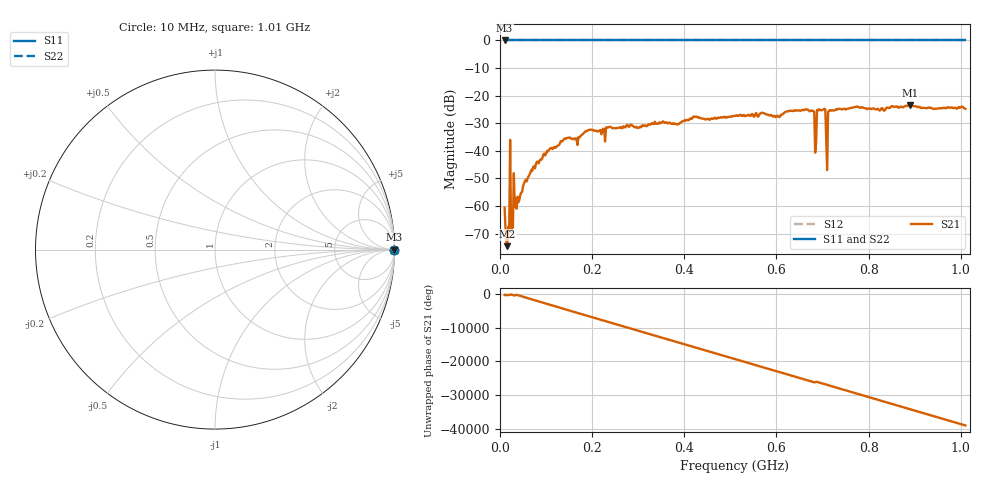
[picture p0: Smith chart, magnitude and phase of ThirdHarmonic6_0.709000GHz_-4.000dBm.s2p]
! 8/15/2025 11:41:19 PM
! C:\ANRITSUVNA\TEMP\TEMP.S2P
! CHANNEL.1
! TR.MEASUREMENT
! RAW.DATA
! RF.CORRECTION.OFF
! AVERAGING.OFF
! IF.BANDWIDTH: 5KHZ
! SWEEPTYPE:  FREQ.SWEEP(Linear)
! Reference Plane Port Info
! PORT:  PORT1  PORT2
! DISTANCE:  0  m  0  m
! TIME:  0  s  0  s
! PHASE.OFFSET:  0  deg.  0  deg.
! LOSS:  0  dB  0  dB
! REF.LOSS:  0  dB  0  dB
! REF.FREQ:  0  Hz  0  Hz
! Power Info
! POWER:  -20  dBm  -20  dBm
! EFF.POWER:  -20  dBm  -20  dBm
! SOURCE.ATTEN:  0  dB  0  dB
! TEST.ATTEN:  0  dB  0  dB
# GHZ S RI R 50.0
! FREQ.GHZ  S11RE  S11IM  S21RE  S21IM  S12RE  S12IM  S22RE  S22IM
!; PortSelection: Port_12
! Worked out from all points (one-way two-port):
!   501 points, 10 MHz to 1.01 GHz, reference 50 ohm
!   highest |S21| = -23.55 dB at 890 MHz (marker M1); lowest = -74.6 dB at 16 MHz (marker M2)
!   lowest |S11| = 0.0 dB at 10 MHz (marker M3)
!   |S11| at or under -10 dB: nowhere
!   |S22| runs from 0.0 to 0.0 dB; largest |S21 - S12| = 1.1
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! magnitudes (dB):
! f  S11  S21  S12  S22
! 10 MHz  0.0  -60.6  0.0  0.0
! 16 MHz  0.0  -74.6  0.0  0.0
! 18 MHz  0.0  -67.5  0.0  0.0
! 26 MHz  0.0  -66.1  0.0  0.0
! 28 MHz  0.0  -67.9  0.0  0.0
! 34 MHz  0.0  -57.2  0.0  0.0
! 40 MHz  0.0  -58.7  0.0  0.0
! 76 MHz  0.0  -46.4  0.0  0.0
! 178 MHz  0.0  -34.1  0.0  0.0
! 344 MHz  0.0  -30.2  0.0  0.0
! 510 MHz  0.0  -27.3  0.0  0.0
! 678 MHz  0.0  -25.5  0.0  0.0
! 682 MHz  0.0  -25.9  0.0  0.0
! 688 MHz  0.0  -25.2  0.0  0.0
! 692 MHz  0.0  -24.9  0.0  0.0
! 702 MHz  0.0  -25.1  0.0  0.0
! 706 MHz  0.0  -25.0  0.0  0.0
! 712 MHz  0.0  -26.0  0.0  0.0
! 718 MHz  0.0  -25.4  0.0  0.0
! 844 MHz  0.0  -24.5  0.0  0.0
! 890 MHz  0.0  -23.5  0.0  0.0
! 1.01 GHz  0.0  -24.8  0.0  0.0
